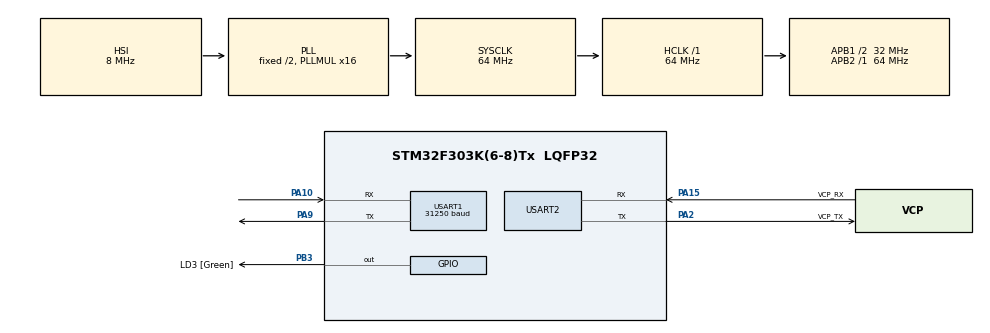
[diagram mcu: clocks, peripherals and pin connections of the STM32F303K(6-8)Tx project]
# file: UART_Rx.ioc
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Mcu.Family=STM32F3
Mcu.Name=STM32F303K(6-8)Tx
Mcu.Package=LQFP32
NVIC.PriorityGroup=NVIC_PRIORITYGROUP_4
NVIC.USART1_IRQn=true\:0\:0\:false\:false\:true\:true
PA10.Mode=Asynchronous
PA10.Signal=USART1_RX
PA13.GPIO_Label=SWDIO
PA13.Mode=Serial_Wire
PA13.Signal=SYS_JTMS-SWDIO
PA14.GPIO_Label=SWCLK
PA14.Mode=Serial_Wire
PA14.Signal=SYS_JTCK-SWCLK
PA15.GPIO_Label=VCP_RX
PA15.Mode=Asynchronous
PA15.Signal=USART2_RX
PA2.GPIO_Label=VCP_TX
PA2.Mode=Asynchronous
PA2.Signal=USART2_TX
PA9.Mode=Asynchronous
PA9.Signal=USART1_TX
PB3.GPIO_Label=LD3 [Green]
PB3.Signal=GPIO_Output
PF0\ /\ OSC_IN.GPIO_Label=MCO
PF0\ /\ OSC_IN.Mode=HSE-External-Clock-Source
PF0\ /\ OSC_IN.Signal=RCC_OSC_IN
ProjectManager.HeapSize=0x200
ProjectManager.StackSize=0x400
ProjectManager.TargetToolchain=TrueSTUDIO
RCC.AHBFreq_Value=64000000
RCC.APB1CLKDivider=RCC_HCLK_DIV2
RCC.APB1Freq_Value=32000000
RCC.APB1TimFreq_Value=64000000
RCC.APB2Freq_Value=64000000
RCC.APB2TimFreq_Value=64000000
RCC.CortexFreq_Value=64000000
RCC.HCLKFreq_Value=64000000
RCC.HSE_VALUE=8000000
RCC.HSI_VALUE=8000000
RCC.PLLMUL=RCC_PLL_MUL16
RCC.SYSCLKFreq_VALUE=64000000
RCC.SYSCLKSourceVirtual=RCC_SYSCLKSOURCE_PLLCLK
USART1.BaudRate=31250
USART1.VirtualMode-Asynchronous=VM_ASYNC
USART2.VirtualMode-Asynchronous=VM_ASYNC
board=NUCLEO-F303K8

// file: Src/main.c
/* USER CODE BEGIN Header */
/**
  ******************************************************************************
  * @file           : main.c
  * @brief          : Main program body
  ******************************************************************************
  ** This notice applies to any and all portions of this file
  * that are not between comment pairs USER CODE BEGIN and
  * USER CODE END. Other portions of this file, whether
  * inserted by the user or by software development tools
  * are owned by their respective copyright owners.
  *
  * COPYRIGHT(c) 2019 STMicroelectronics
  *
  * Redistribution and use in source and binary forms, with or without modification,
  * are permitted provided that the following conditions are met:
  *   1. Redistributions of source code must retain the above copyright notice,
  *      this list of conditions and the following disclaimer.
  *   2. Redistributions in binary form must reproduce the above copyright notice,
  *      this list of conditions and the following disclaimer in the documentation
  *      and/or other materials provided with the distribution.
  *   3. Neither the name of STMicroelectronics nor the names of its contributors
  *      may be used to endorse or promote products derived from this software
  *      without specific prior written permission.
  *
  * THIS SOFTWARE IS PROVIDED BY THE COPYRIGHT HOLDERS AND CONTRIBUTORS "AS IS"
  * AND ANY EXPRESS OR IMPLIED WARRANTIES, INCLUDING, BUT NOT LIMITED TO, THE
  * IMPLIED WARRANTIES OF MERCHANTABILITY AND FITNESS FOR A PARTICULAR PURPOSE ARE
  * DISCLAIMED. IN NO EVENT SHALL THE COPYRIGHT HOLDER OR CONTRIBUTORS BE LIABLE
  * FOR ANY DIRECT, INDIRECT, INCIDENTAL, SPECIAL, EXEMPLARY, OR CONSEQUENTIAL
  * DAMAGES (INCLUDING, BUT NOT LIMITED TO, PROCUREMENT OF SUBSTITUTE GOODS OR
  * SERVICES; LOSS OF USE, DATA, OR PROFITS; OR BUSINESS INTERRUPTION) HOWEVER
  * CAUSED AND ON ANY THEORY OF LIABILITY, WHETHER IN CONTRACT, STRICT LIABILITY,
  * OR TORT (INCLUDING NEGLIGENCE OR OTHERWISE) ARISING IN ANY WAY OUT OF THE USE
  * OF THIS SOFTWARE, EVEN IF ADVISED OF THE POSSIBILITY OF SUCH DAMAGE.
  *
  ******************************************************************************
  */
/* USER CODE END Header */

#include "main.h"

UART_HandleTypeDef huart1;
UART_HandleTypeDef huart2;

/* USER CODE BEGIN PV */
uint8_t mensaje[3];
/* USER CODE END PV */

void SystemClock_Config(void);
static void MX_GPIO_Init(void);
static void MX_USART2_UART_Init(void);
static void MX_USART1_UART_Init(void);

int main(void)
{

  /* MCU Configuration--------------------------------------------------------*/

  /* Reset of all peripherals, Initializes the Flash interface and the Systick. */
  HAL_Init();

  /* Configure the system clock */
  SystemClock_Config();

  /* Initialize all configured peripherals */
  MX_GPIO_Init();
  MX_USART2_UART_Init();
  MX_USART1_UART_Init();
  /* USER CODE BEGIN 2 */
  __HAL_UART_ENABLE_IT(&huart1, UART_IT_RXNE);
  /* USER CODE END 2 */

  /* Infinite loop */
  while (1)
  {

  }
}

void SystemClock_Config(void)
{
  RCC_OscInitTypeDef RCC_OscInitStruct = {0};
  RCC_ClkInitTypeDef RCC_ClkInitStruct = {0};
  RCC_PeriphCLKInitTypeDef PeriphClkInit = {0};

  /**Initializes the CPU, AHB and APB busses clocks
  */
  RCC_OscInitStruct.OscillatorType = RCC_OSCILLATORTYPE_HSI;
  RCC_OscInitStruct.HSIState = RCC_HSI_ON;
  RCC_OscInitStruct.HSICalibrationValue = RCC_HSICALIBRATION_DEFAULT;
  RCC_OscInitStruct.PLL.PLLState = RCC_PLL_ON;
  RCC_OscInitStruct.PLL.PLLSource = RCC_PLLSOURCE_HSI;
  RCC_OscInitStruct.PLL.PLLMUL = RCC_PLL_MUL16;
  if (HAL_RCC_OscConfig(&RCC_OscInitStruct) != HAL_OK)
  {
    Error_Handler();
  }
  /**Initializes the CPU, AHB and APB busses clocks
  */
  RCC_ClkInitStruct.ClockType = RCC_CLOCKTYPE_HCLK|RCC_CLOCKTYPE_SYSCLK
                              |RCC_CLOCKTYPE_PCLK1|RCC_CLOCKTYPE_PCLK2;
  RCC_ClkInitStruct.SYSCLKSource = RCC_SYSCLKSOURCE_PLLCLK;
  RCC_ClkInitStruct.AHBCLKDivider = RCC_SYSCLK_DIV1;
  RCC_ClkInitStruct.APB1CLKDivider = RCC_HCLK_DIV2;
  RCC_ClkInitStruct.APB2CLKDivider = RCC_HCLK_DIV1;

  if (HAL_RCC_ClockConfig(&RCC_ClkInitStruct, FLASH_LATENCY_2) != HAL_OK)
  {
    Error_Handler();
  }
  PeriphClkInit.PeriphClockSelection = RCC_PERIPHCLK_USART1;
  PeriphClkInit.Usart1ClockSelection = RCC_USART1CLKSOURCE_PCLK1;
  if (HAL_RCCEx_PeriphCLKConfig(&PeriphClkInit) != HAL_OK)
  {
    Error_Handler();
  }
}

static void MX_USART1_UART_Init(void)
{

  huart1.Instance = USART1;
  huart1.Init.BaudRate = 31250;
  huart1.Init.WordLength = UART_WORDLENGTH_8B;
  huart1.Init.StopBits = UART_STOPBITS_1;
  huart1.Init.Parity = UART_PARITY_NONE;
  huart1.Init.Mode = UART_MODE_TX_RX;
  huart1.Init.HwFlowCtl = UART_HWCONTROL_NONE;
  huart1.Init.OverSampling = UART_OVERSAMPLING_16;
  huart1.Init.OneBitSampling = UART_ONE_BIT_SAMPLE_DISABLE;
  huart1.AdvancedInit.AdvFeatureInit = UART_ADVFEATURE_NO_INIT;
  if (HAL_UART_Init(&huart1) != HAL_OK)
  {
    Error_Handler();
  }

}

static void MX_USART2_UART_Init(void)
{

  huart2.Instance = USART2;
  huart2.Init.BaudRate = 38400;
  huart2.Init.WordLength = UART_WORDLENGTH_8B;
  huart2.Init.StopBits = UART_STOPBITS_1;
  huart2.Init.Parity = UART_PARITY_NONE;
  huart2.Init.Mode = UART_MODE_TX_RX;
  huart2.Init.HwFlowCtl = UART_HWCONTROL_NONE;
  huart2.Init.OverSampling = UART_OVERSAMPLING_16;
  huart2.Init.OneBitSampling = UART_ONE_BIT_SAMPLE_DISABLE;
  huart2.AdvancedInit.AdvFeatureInit = UART_ADVFEATURE_NO_INIT;
  if (HAL_UART_Init(&huart2) != HAL_OK)
  {
    Error_Handler();
  }

}

static void MX_GPIO_Init(void)
{
  GPIO_InitTypeDef GPIO_InitStruct = {0};

  /* GPIO Ports Clock Enable */
  __HAL_RCC_GPIOF_CLK_ENABLE();
  __HAL_RCC_GPIOA_CLK_ENABLE();
  __HAL_RCC_GPIOB_CLK_ENABLE();

  /*Configure GPIO pin Output Level */
  HAL_GPIO_WritePin(LD3_GPIO_Port, LD3_Pin, GPIO_PIN_RESET);

  /*Configure GPIO pin : LD3_Pin */
  GPIO_InitStruct.Pin = LD3_Pin;
  GPIO_InitStruct.Mode = GPIO_MODE_OUTPUT_PP;
  GPIO_InitStruct.Pull = GPIO_NOPULL;
  GPIO_InitStruct.Speed = GPIO_SPEED_FREQ_LOW;
  HAL_GPIO_Init(LD3_GPIO_Port, &GPIO_InitStruct);

}

/* USER CODE BEGIN 4 */
void HAL_UART_RxCpltCallback(UART_HandleTypeDef *huart) {

	//HAL_UART_Transmit(&huart2, uno, sizeof(uno), 10);
	for(uint8_t i=0;i<sizeof(mensaje);i++){
		tx_byte(&huart2, mensaje[i], 10);
	}

	__HAL_UART_ENABLE_IT(&huart1, UART_IT_RXNE);
}

void tx_byte(UART_HandleTypeDef *huart, uint8_t data, uint32_t Timeout){

	uint8_t byte[8];
	for(uint8_t i=0;i<8;i++){
		if((data>>(7-i) & 0x01)==1){
			byte[i]=0x31;
		}
		if((data>>(7-i) & 0x01)==0){
			byte[i]=0x30;
		}
	}
HAL_UART_Transmit(huart, byte, sizeof(byte), 10);

uint8_t salto[] = "\r\n";
HAL_UART_Transmit(huart, salto, 2, 10);
}

/* USER CODE END 4 */

void Error_Handler(void)
{
}

/************************ (C) COPYRIGHT STMicroelectronics *****END OF FILE****/
